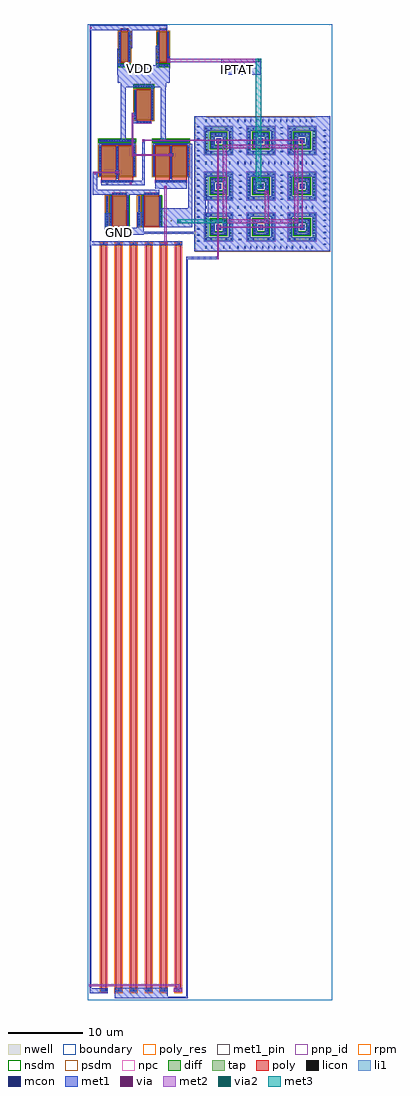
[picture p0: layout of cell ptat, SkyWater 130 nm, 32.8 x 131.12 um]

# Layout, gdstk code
from math import pi, radians
import gdstk
lib = gdstk.Library(unit=1e-6, precision=1e-09)
def R(c, l, rs):  # rectangles x0, y0, x1, y1
    for r in rs: c.add(gdstk.rectangle(r[:2], r[2:], *l))
def A(c, l, x, y, w, h, nx, ny, dx, dy):  # array of equal rectangles
    R(c, l, [(x+i*dx, y+j*dy, x+i*dx+w, y+j*dy+h) for i in range(nx) for j in range(ny)])
def P(c, l, *ps):  # polygons
    for p in ps: c.add(gdstk.Polygon(p, *l))
nwell = (64, 20)
diff = (65, 20)
tap = (65, 44)
poly_res = (66, 13)
poly = (66, 20)
licon = (66, 44)
li1 = (67, 20)
mcon = (67, 44)
met1_pin = (68, 16)
met1 = (68, 20)
via = (68, 44)
met2 = (69, 20)
via2 = (69, 44)
met3 = (70, 20)
pnp_id = (82, 44)
rpm = (86, 20)
nsdm = (93, 44)
psdm = (94, 20)
npc = (95, 20)
boundary = (235, 4)

pfet_01v8_cdns_778453450 = lib.new_cell('pfet_01v8_CDNS_778453450600')
R(pfet_01v8_cdns_778453450, nwell, [(-0.445,-0.18,4.725,5.05)])
R(pfet_01v8_cdns_778453450, diff, [(-0.265,0,0,4), (0,0,2,4), (2,0,2.28,4), (2.28,0,4.28,4), (4.28,0,4.545,4)])
R(pfet_01v8_cdns_778453450, tap, [(-0.265,4.58,4.545,4.87)])
R(pfet_01v8_cdns_778453450, poly, [(0,-0.86,4.28,-0.59), (0,-0.59,2,0), (2.28,-0.59,4.28,0), (0,0,2,4), (2.28,0,4.28,4), (0,4,2,4.15), (2.28,4,4.28,4.15)])
A(pfet_01v8_cdns_778453450, licon, 0.08, -0.81, 0.17, 0.17, 10, 1, 0.36, 0)
A(pfet_01v8_cdns_778453450, licon, -0.225, 0.215, 0.17, 0.17, 3, 11, 2.28, 0.34)
A(pfet_01v8_cdns_778453450, licon, 0.015, 4.64, 0.17, 0.17, 13, 1, 0.34, 0)
R(pfet_01v8_cdns_778453450, licon, [(3.675,-0.81,3.845,-0.64), (4.03,-0.81,4.2,-0.64)])
A(pfet_01v8_cdns_778453450, li1, -0.225, 0, 0.17, 4, 3, 1, 2.28, 0)
R(pfet_01v8_cdns_778453450, li1, [(0,-0.84,4.28,-0.61), (-0.255,4.59,4.535,4.86)])
A(pfet_01v8_cdns_778453450, mcon, 0.08, -0.81, 0.17, 0.17, 11, 1, 0.395, 0)
A(pfet_01v8_cdns_778453450, mcon, -0.225, 0.115, 0.17, 0.17, 3, 11, 2.28, 0.36)
A(pfet_01v8_cdns_778453450, mcon, -0.105, 4.64, 0.17, 0.17, 13, 1, 0.36, 0)
A(pfet_01v8_cdns_778453450, met1, -0.255, 0, 0.23, 4, 3, 1, 2.28, 0)
R(pfet_01v8_cdns_778453450, met1, [(0,-0.86,4.28,-0.59), (2.025,-0.4,2.255,-0.17), (2.025,-0.17,2.255,0), (-0.255,4,-0.025,4.17), (4.305,4,4.535,4.17), (-0.255,4.17,4.535,4.4), (-0.255,4.59,4.535,4.86)])
R(pfet_01v8_cdns_778453450, nsdm, [(-0.395,4.45,4.675,5)])
R(pfet_01v8_cdns_778453450, psdm, [(-0.405,-0.13,4.685,4.13)])
R(pfet_01v8_cdns_778453450, npc, [(-0.05,-0.91,4.33,-0.54)])

nfet_01v8_cdns_778453450 = lib.new_cell('nfet_01v8_CDNS_778453450601')
R(nfet_01v8_cdns_778453450, diff, [(-0.265,0,0,4), (0,0,2,4), (2,0,2.265,4)])
R(nfet_01v8_cdns_778453450, tap, [(-0.825,0,-0.535,4)])
R(nfet_01v8_cdns_778453450, poly, [(0,-0.15,2,0), (0,0,2,4), (0,4,2,4.19), (0,4.19,2,4.46)])
A(nfet_01v8_cdns_778453450, licon, -0.765, 0.215, 0.17, 0.17, 1, 11, 0, 0.34)
A(nfet_01v8_cdns_778453450, licon, -0.225, 0.215, 0.17, 0.17, 1, 11, 0, 0.34)
A(nfet_01v8_cdns_778453450, licon, 2.055, 0.215, 0.17, 0.17, 1, 11, 0, 0.34)
A(nfet_01v8_cdns_778453450, licon, 0.08, 4.24, 0.17, 0.17, 3, 1, 0.42, 0)
R(nfet_01v8_cdns_778453450, licon, [(1.335,4.24,1.505,4.41), (1.75,4.24,1.92,4.41)])
R(nfet_01v8_cdns_778453450, li1, [(-0.815,0,-0.545,4), (-0.225,0,-0.055,4), (2.055,0,2.225,4), (0,4.21,2,4.44)])
A(nfet_01v8_cdns_778453450, mcon, -0.765, 0.115, 0.17, 0.17, 1, 11, 0, 0.36)
A(nfet_01v8_cdns_778453450, mcon, -0.225, 0.115, 0.17, 0.17, 1, 11, 0, 0.36)
A(nfet_01v8_cdns_778453450, mcon, 2.055, 0.115, 0.17, 0.17, 1, 11, 0, 0.36)
A(nfet_01v8_cdns_778453450, mcon, 0.08, 4.24, 0.17, 0.17, 3, 1, 0.42, 0)
R(nfet_01v8_cdns_778453450, mcon, [(1.335,4.24,1.505,4.41), (1.75,4.24,1.92,4.41)])
R(nfet_01v8_cdns_778453450, met1, [(-0.815,0,-0.545,4), (-0.255,0,-0.025,4), (2.025,0,2.255,4), (0,4.19,2,4.46)])
R(nfet_01v8_cdns_778453450, nsdm, [(-0.405,-0.13,2.405,4.13)])
R(nfet_01v8_cdns_778453450, psdm, [(-0.965,-0.14,-0.395,4.14)])
R(nfet_01v8_cdns_778453450, npc, [(-0.05,4.14,2.05,4.51)])

c_pfet_01v8_cdns_778453450 = lib.new_cell('pfet_01v8_CDNS_778453450602')
R(c_pfet_01v8_cdns_778453450, nwell, [(-0.445,-0.18,2.445,4.81)])
R(c_pfet_01v8_cdns_778453450, diff, [(-0.265,0,0,4), (0,0,2,4), (2,0,2.265,4)])
R(c_pfet_01v8_cdns_778453450, tap, [(-0.265,4.34,2.265,4.63)])
R(c_pfet_01v8_cdns_778453450, poly, [(0,-0.46,2,-0.19), (0,-0.19,2,0), (0,0,2,4), (0,4,2,4.15)])
A(c_pfet_01v8_cdns_778453450, licon, 0.08, -0.41, 0.17, 0.17, 3, 1, 0.42, 0)
A(c_pfet_01v8_cdns_778453450, licon, -0.225, 0.215, 0.17, 0.17, 1, 11, 0, 0.34)
A(c_pfet_01v8_cdns_778453450, licon, 2.055, 0.215, 0.17, 0.17, 1, 11, 0, 0.34)
A(c_pfet_01v8_cdns_778453450, licon, -0.105, 4.4, 0.17, 0.17, 7, 1, 0.34, 0)
R(c_pfet_01v8_cdns_778453450, licon, [(1.335,-0.41,1.505,-0.24), (1.75,-0.41,1.92,-0.24)])
R(c_pfet_01v8_cdns_778453450, li1, [(0,-0.44,2,-0.21), (-0.225,0,-0.055,4), (2.055,0,2.225,4), (-0.255,4.35,2.255,4.62)])
A(c_pfet_01v8_cdns_778453450, mcon, 0.08, -0.41, 0.17, 0.17, 3, 1, 0.42, 0)
A(c_pfet_01v8_cdns_778453450, mcon, -0.225, 0.115, 0.17, 0.17, 1, 11, 0, 0.36)
A(c_pfet_01v8_cdns_778453450, mcon, 2.055, 0.115, 0.17, 0.17, 1, 11, 0, 0.36)
A(c_pfet_01v8_cdns_778453450, mcon, -0.165, 4.4, 0.17, 0.17, 7, 1, 0.36, 0)
R(c_pfet_01v8_cdns_778453450, mcon, [(1.335,-0.41,1.505,-0.24), (1.75,-0.41,1.92,-0.24)])
R(c_pfet_01v8_cdns_778453450, met1, [(0,-0.46,2,-0.19), (-0.255,0,-0.025,4), (2.025,0,2.255,4), (-0.255,4.35,2.255,4.62)])
R(c_pfet_01v8_cdns_778453450, nsdm, [(-0.395,4.21,2.395,4.76)])
R(c_pfet_01v8_cdns_778453450, psdm, [(-0.405,-0.13,2.405,4.13)])
R(c_pfet_01v8_cdns_778453450, npc, [(-0.05,-0.51,2.05,-0.14)])

m1m2_c_cdns_778453450601 = lib.new_cell('M1M2_C_CDNS_778453450601')
R(m1m2_c_cdns_778453450601, met1, [(-0.13,-0.16,0.13,0.16)])
R(m1m2_c_cdns_778453450601, via, [(-0.075,-0.075,0.075,0.075)])
R(m1m2_c_cdns_778453450601, met2, [(-0.13,-0.16,0.13,0.16)])

ota = lib.new_cell('ota')
R(ota, met1_pin, [(3.005,2.04,3.145,2.18), (10.99,3.405,11.13,3.545), (2.335,8.31,2.565,8.555), (10.365,8.42,10.505,8.56), (8.185,22.01,8.3,22.105)])
R(ota, met1, [(2.12,1.595,7.32,2.515), (2.12,1.935,3.02,4.46), (6.455,1.935,7.32,4.6), (9.495,2.595,13.875,5.11), (13.3,2.595,13.875,13.815), (5.075,4.905,5.36,7.46), (0.485,6.92,1.13,10.025), (0.485,6.92,9.41,7.59), (1.645,8.205,5.885,8.845), (8.88,8.205,13.12,8.845), (3.5,9.64,4.075,10.235), (5.755,12.13,6.33,12.49), (10.72,12.13,11.295,12.49), (4.245,14.065,4.91,22.285), (9.645,14.07,10.31,22.29), (5.76,16.52,6.605,16.855), (5.76,16.52,6.305,17.945), (8.375,20.795,8.65,21.755), (4.245,21.375,10.335,22.29)])
R(ota, met2, [(0.485,9.875,4.075,10.02), (5.76,12.145,5.915,17.945), (5.785,12.21,11.15,12.355)])
ota.add(gdstk.Reference(pfet_01v8_cdns_778453450, (8.86,9.465)))
ota.add(gdstk.Reference(pfet_01v8_cdns_778453450, (1.635,9.465)))
ota.add(gdstk.Reference(nfet_01v8_cdns_778453450, (7.4,2.725)))
ota.add(gdstk.Reference(nfet_01v8_cdns_778453450, (3.09,2.725)))
ota.add(gdstk.Reference(c_pfet_01v8_cdns_778453450, (6.36,17.025)))
ota.add(gdstk.Reference(m1m2_c_cdns_778453450601, (0.795,9.82)))
ota.add(gdstk.Reference(m1m2_c_cdns_778453450601, (5.95,12.31)))
ota.add(gdstk.Reference(m1m2_c_cdns_778453450601, (10.96,12.29)))
ota.add(gdstk.Reference(m1m2_c_cdns_778453450601, (5.96,17.455)))
ota.add(gdstk.Reference(m1m2_c_cdns_778453450601, (3.835,9.975)))

pnp_05v5_cdns_7784534506 = lib.new_cell('pnp_05v5_CDNS_778453450603')
R(pnp_05v5_cdns_7784534506, nwell, [(-0.885,-0.885,1.565,1.565)])
R(pnp_05v5_cdns_7784534506, diff, [(0,0,0.68,0.68)])
P(pnp_05v5_cdns_7784534506, tap, [(-1.515,2.195),(2.195,2.195),(2.195,-1.515),(0.34,-1.515),(0.34,-1.015),(1.695,-1.015),(1.695,1.695),(-1.015,1.695),(-1.015,-1.015),(0.34,-1.015),(0.34,-1.515),(-1.515,-1.515)],
  [(-0.705,1.385),(1.385,1.385),(1.385,-0.705),(0.34,-0.705),(0.34,-0.345),(1.025,-0.345),(1.025,1.025),(-0.345,1.025),(-0.345,-0.345),(0.34,-0.345),(0.34,-0.705),(-0.705,-0.705)])
A(pnp_05v5_cdns_7784534506, licon, -1.35, -0.925, 0.17, 0.17, 1, 5, 0, 0.395)
A(pnp_05v5_cdns_7784534506, licon, 1.86, -0.925, 0.17, 0.17, 1, 5, 0, 0.395)
A(pnp_05v5_cdns_7784534506, licon, -0.61, -0.585, 0.17, 0.17, 1, 4, 0, 0.45)
A(pnp_05v5_cdns_7784534506, licon, 1.12, -0.585, 0.17, 0.17, 1, 4, 0, 0.45)
A(pnp_05v5_cdns_7784534506, licon, -0.585, 1.12, 0.17, 0.17, 5, 1, 0.42, 0)
R(pnp_05v5_cdns_7784534506, licon, [(-1.435,-1.35,-1.265,-1.18), (-0.775,-1.35,-0.605,-1.18), (1.285,-1.35,1.455,-1.18), (1.945,-1.35,2.115,-1.18), (0.08,0.08,0.25,0.25), (0.43,0.08,0.6,0.25), (0.08,0.43,0.25,0.6), (0.43,0.43,0.6,0.6), (-1.35,1.045,-1.18,1.215), (1.86,1.045,2.03,1.215), (-1.35,1.435,-1.18,1.605), (1.86,1.435,2.03,1.605), (-1.435,1.86,-1.265,2.03), (-0.775,1.86,-0.605,2.03), (1.285,1.86,1.455,2.03), (1.945,1.86,2.115,2.03)])
R(pnp_05v5_cdns_7784534506, li1, [(0,0,0.68,0.68)])
R(pnp_05v5_cdns_7784534506, mcon, [(-1.445,-1.35,-1.275,-1.18), (-0.765,-1.35,-0.595,-1.18), (1.275,-1.35,1.445,-1.18), (1.955,-1.35,2.125,-1.18), (-0.61,-0.635,-0.44,-0.465), (1.12,-0.635,1.29,-0.465), (-0.61,-0.265,-0.44,-0.095), (1.12,-0.265,1.29,-0.095), (0.03,0.06,0.2,0.23), (0.48,0.06,0.65,0.23), (-0.61,0.1,-0.44,0.27), (1.12,0.1,1.29,0.27), (0.03,0.45,0.2,0.62), (0.48,0.45,0.65,0.62), (-1.445,1.86,-1.275,2.03), (-0.765,1.86,-0.595,2.03), (1.275,1.86,1.445,2.03), (1.955,1.86,2.125,2.03)])
R(pnp_05v5_cdns_7784534506, met1, [(0,0,0.68,0.68)])
R(pnp_05v5_cdns_7784534506, pnp_id, [(-1.645,-1.645,2.325,2.325)])
P(pnp_05v5_cdns_7784534506, nsdm, [(-0.835,1.515),(1.515,1.515),(1.515,-0.835),(0.34,-0.835),(0.34,-0.215),(0.895,-0.215),(0.895,0.895),(-0.215,0.895),(-0.215,-0.215),(0.34,-0.215),(0.34,-0.835),(-0.835,-0.835)])
R(pnp_05v5_cdns_7784534506, psdm, [(-0.13,-0.13,0.81,0.81)])
P(pnp_05v5_cdns_7784534506, psdm, [(-1.645,2.325),(2.325,2.325),(2.325,-1.645),(0.34,-1.645),(0.34,-0.885),(1.565,-0.885),(1.565,1.565),(-0.885,1.565),(-0.885,-0.885),(0.34,-0.885),(0.34,-1.645),(-1.645,-1.645)])
pnp_05v5_cdns_7784534506.add(gdstk.FlexPath([(1.205,1.945),(1.945,1.945),(1.945,-1.265),(1.205,-1.265)], 0.5, ends="flush", simple_path=True, layer=67, datatype=20))  # li1
pnp_05v5_cdns_7784534506.add(gdstk.FlexPath([(-0.525,1.945),(-1.265,1.945),(-1.265,-1.265),(-0.525,-1.265)], 0.5, ends="flush", simple_path=True, layer=67, datatype=20))  # li1
pnp_05v5_cdns_7784534506.add(gdstk.FlexPath([(-0.525,-0.705),(-0.525,1.205),(1.205,1.205),(1.205,-0.705)], 0.36, ends="flush", simple_path=True, layer=67, datatype=20))  # li1
pnp_05v5_cdns_7784534506.add(gdstk.FlexPath([(-1.515,-1.265),(2.195,-1.265)], 0.5, ends="flush", simple_path=True, layer=68, datatype=20))  # met1
pnp_05v5_cdns_7784534506.add(gdstk.FlexPath([(-1.515,1.945),(2.195,1.945)], 0.5, ends="flush", simple_path=True, layer=68, datatype=20))  # met1
pnp_05v5_cdns_7784534506.add(gdstk.FlexPath([(-0.525,0.34),(-0.525,-0.525),(1.205,-0.525),(1.205,0.34)], 0.36, ends="flush", simple_path=True, layer=68, datatype=20))  # met1

res_high_po_0p69_cdns_77 = lib.new_cell('res_high_po_0p69_CDNS_778453450604')
R(res_high_po_0p69_cdns_77, poly_res, [(0,-0.05,0.69,99.95)])
R(res_high_po_0p69_cdns_77, poly, [(0,-0.27,0.69,0), (0,0,0.69,99.9), (0,99.9,0.69,100.17)])
R(res_high_po_0p69_cdns_77, licon, [(0.08,-0.22,0.25,-0.05), (0.44,-0.22,0.61,-0.05), (0.08,99.95,0.25,100.12), (0.44,99.95,0.61,100.12)])
R(res_high_po_0p69_cdns_77, li1, [(-0.1,-0.22,0.79,-0.05), (-0.1,99.95,0.79,100.12)])
R(res_high_po_0p69_cdns_77, rpm, [(-0.2,-0.47,0.89,100.37)])
R(res_high_po_0p69_cdns_77, psdm, [(-0.11,-0.38,0.8,100.28)])
R(res_high_po_0p69_cdns_77, npc, [(-0.095,-0.365,0.785,100.265)])

subtap_cdns_778453450605 = lib.new_cell('subTap_CDNS_778453450605')
R(subtap_cdns_778453450605, tap, [(-0.085,-0.21,0.085,0.21)])
R(subtap_cdns_778453450605, licon, [(-0.085,-0.085,0.085,0.085)])
R(subtap_cdns_778453450605, li1, [(-0.085,-0.165,0.085,0.165)])
R(subtap_cdns_778453450605, mcon, [(-0.085,-0.085,0.085,0.085)])
R(subtap_cdns_778453450605, met1, [(-0.115,-0.145,0.115,0.145)])
R(subtap_cdns_778453450605, psdm, [(-0.21,-0.335,0.21,0.335)])

c_pfet_01v8_cdns_778453450_ = lib.new_cell('pfet_01v8_CDNS_778453450606')
R(c_pfet_01v8_cdns_778453450_, nwell, [(-0.445,-0.18,1.445,4.81)])
R(c_pfet_01v8_cdns_778453450_, diff, [(-0.265,0,0,4), (0,0,1,4), (1,0,1.265,4)])
R(c_pfet_01v8_cdns_778453450_, tap, [(-0.265,4.34,1.265,4.63)])
R(c_pfet_01v8_cdns_778453450_, poly, [(0,-0.46,1,-0.19), (0,-0.19,1,0), (0,0,1,4), (0,4,1,4.15)])
A(c_pfet_01v8_cdns_778453450_, licon, -0.225, 0.215, 0.17, 0.17, 1, 11, 0, 0.34)
A(c_pfet_01v8_cdns_778453450_, licon, 1.055, 0.215, 0.17, 0.17, 1, 11, 0, 0.34)
A(c_pfet_01v8_cdns_778453450_, licon, -0.095, 4.4, 0.17, 0.17, 4, 1, 0.34, 0)
R(c_pfet_01v8_cdns_778453450_, licon, [(0.08,-0.41,0.25,-0.24), (0.75,-0.41,0.92,-0.24)])
R(c_pfet_01v8_cdns_778453450_, li1, [(0,-0.44,1,-0.21), (-0.225,0,-0.055,4), (1.055,0,1.225,4), (-0.255,4.35,1.255,4.62)])
A(c_pfet_01v8_cdns_778453450_, mcon, -0.225, 0.115, 0.17, 0.17, 1, 11, 0, 0.36)
A(c_pfet_01v8_cdns_778453450_, mcon, 1.055, 0.115, 0.17, 0.17, 1, 11, 0, 0.36)
A(c_pfet_01v8_cdns_778453450_, mcon, -0.125, 4.4, 0.17, 0.17, 4, 1, 0.36, 0)
R(c_pfet_01v8_cdns_778453450_, mcon, [(0.08,-0.41,0.25,-0.24), (0.75,-0.41,0.92,-0.24)])
R(c_pfet_01v8_cdns_778453450_, met1, [(0,-0.46,1,-0.19), (-0.255,0,-0.025,4), (1.025,0,1.255,4), (-0.255,4.35,1.255,4.62)])
R(c_pfet_01v8_cdns_778453450_, nsdm, [(-0.395,4.21,1.395,4.76)])
R(c_pfet_01v8_cdns_778453450_, psdm, [(-0.405,-0.13,1.405,4.13)])
R(c_pfet_01v8_cdns_778453450_, npc, [(-0.05,-0.51,1.05,-0.14)])

l1m1_c_cdns_778453450600 = lib.new_cell('L1M1_C_CDNS_778453450600')
R(l1m1_c_cdns_778453450600, li1, [(-0.085,-0.165,0.085,0.165)])
R(l1m1_c_cdns_778453450600, mcon, [(-0.085,-0.085,0.085,0.085)])
R(l1m1_c_cdns_778453450600, met1, [(-0.115,-0.145,0.115,0.145)])

m2m3_c_cdns_778453450602 = lib.new_cell('M2M3_C_CDNS_778453450602')
R(m2m3_c_cdns_778453450602, met2, [(-0.14,-0.185,0.14,0.185)])
R(m2m3_c_cdns_778453450602, via2, [(-0.1,-0.1,0.1,0.1)])
R(m2m3_c_cdns_778453450602, met3, [(-0.165,-0.165,0.165,0.165)])

m1m2_c_cdns_778453450603 = lib.new_cell('M1M2_C_CDNS_778453450603')
R(m1m2_c_cdns_778453450603, met1, [(-0.13,-0.16,0.13,0.16)])
R(m1m2_c_cdns_778453450603, via, [(-0.075,-0.075,0.075,0.075)])
R(m1m2_c_cdns_778453450603, met2, [(-0.14,-0.185,0.14,0.185)])

l1m1_c_cdns_778453450604 = lib.new_cell('L1M1_C_CDNS_778453450604')
R(l1m1_c_cdns_778453450604, li1, [(-0.085,-0.165,0.085,0.165)])
R(l1m1_c_cdns_778453450604, mcon, [(-0.085,-0.085,0.085,0.085)])
R(l1m1_c_cdns_778453450604, met1, [(-0.13,-0.16,0.13,0.16)])

ptat = lib.new_cell('ptat')
R(ptat, met1_pin, [(6.65,102,6.79,102.14), (22.535,123.975,22.675,124.115), (9.36,124.095,9.5,124.235)])
R(ptat, met1, [(6.06,-0.81,13.185,0.6), (6.08,-0.81,15.9,-0.56), (15.645,-0.805,15.895,98.85), (2.7,-0.075,5.14,0.54), (14.02,0.06,15.105,0.595), (2.7,0.065,2.905,129.94), (15.655,98.49,20.055,98.82), (16.765,99.545,34.985,101.05), (21.465,99.735,24.285,116.57), (33.045,100.29,34.985,117.68), (2.675,100.395,15.11,100.895), (16.775,100.475,18.275,117.69), (27.17,100.715,29.815,116.54), (18.985,101.78,19.515,103.87), (20.55,101.78,21.08,103.87), (24.65,101.78,25.18,103.87), (26.21,101.78,26.74,103.87), (30.19,101.78,30.72,103.87), (31.75,101.78,32.28,103.87), (32.58,101.91,33.09,114.73), (6.565,101.92,17.085,102.175), (13.385,102.955,16.175,104.425), (18.985,103.35,21.08,103.87), (24.655,103.35,26.75,103.87), (30.19,103.35,32.285,103.87), (18.985,103.36,21.08,103.88), (18.575,104.255,33.025,106.88), (18.985,107.28,19.515,109.37), (20.545,107.28,21.075,109.37), (24.665,107.28,25.195,109.37), (26.23,107.28,26.76,109.37), (30.19,107.28,30.72,109.37), (31.75,107.28,32.28,109.37), (11.51,107.98,15.72,108.815), (4.275,108.43,10.095,109.015), (9.73,108.455,10.095,114.61), (18.985,108.855,21.08,109.375), (24.655,108.855,26.75,109.375), (30.19,108.855,32.285,109.375), (17.86,109.675,33.345,112.87), (18.98,113.39,19.51,115.48), (20.545,113.39,21.075,115.48), (24.65,113.39,25.18,115.48), (26.21,113.39,26.74,115.48), (30.19,113.39,30.72,115.48), (31.75,113.39,32.28,115.48), (18.985,114.96,21.08,115.48), (24.655,114.96,26.75,115.48), (30.19,114.96,32.285,115.48), (16.91,116.2,34.96,117.67), (6.445,122.175,13.48,124.54), (20.385,123.285,25.71,125.445), (6.41,123.295,6.81,126.79), (11.565,123.31,11.965,127.155), (13.13,124.915,13.485,125.765), (8.055,126.86,8.425,129.895), (7.905,127.14,8.12,127.74), (2.695,129.26,13.13,129.91)])
R(ptat, met2, [(14.015,0.06,15.105,0.605), (14.405,0.07,14.715,1.075), (2.69,0.85,14.725,1.07), (19.86,98.495,20.045,114.575), (12.69,100.455,13.04,108.39), (19.9,102.695,31.325,102.85), (31.165,102.72,31.34,114.55), (30.18,103.3,30.72,113.86), (20.615,103.335,30.7,103.885), (20.585,103.35,21.09,113.845), (26.23,103.35,26.735,107.71), (20.565,113.385,30.57,113.845), (9.745,114.4,31.345,114.565), (13.205,124.965,25.395,125.405)])
R(ptat, met3, [(14.45,103.365,21.105,103.87), (25.03,108.035,25.715,125.445)])
R(ptat, psdm, [(16.78,99.505,34.99,117.685)])
R(ptat, boundary, [(2.46,-1.015,35.26,130.1)])
ptat.add(gdstk.Reference(ota, (2.615,100.215)))
ptat.add(gdstk.Reference(pnp_05v5_cdns_7784534506, (30.895,107.985)))
ptat.add(gdstk.Reference(pnp_05v5_cdns_7784534506, (30.895,114.095)))
ptat.add(gdstk.Reference(pnp_05v5_cdns_7784534506, (25.355,114.095)))
ptat.add(gdstk.Reference(pnp_05v5_cdns_7784534506, (19.69,114.095)))
ptat.add(gdstk.Reference(pnp_05v5_cdns_7784534506, (30.895,102.485)))
ptat.add(gdstk.Reference(pnp_05v5_cdns_7784534506, (25.355,102.485)))
ptat.add(gdstk.Reference(pnp_05v5_cdns_7784534506, (19.69,102.485)))
ptat.add(gdstk.Reference(pnp_05v5_cdns_7784534506, (19.69,107.985)))
ptat.add(gdstk.Reference(pnp_05v5_cdns_7784534506, (25.37,107.985)))
ptat.add(gdstk.Reference(res_high_po_0p69_cdns_77, (12.27,0.395)))
ptat.add(gdstk.Reference(res_high_po_0p69_cdns_77, (10.275,0.395)))
ptat.add(gdstk.Reference(res_high_po_0p69_cdns_77, (14.25,0.395)))
ptat.add(gdstk.Reference(res_high_po_0p69_cdns_77, (4.25,0.395)))
ptat.add(gdstk.Reference(res_high_po_0p69_cdns_77, (6.225,0.395)))
ptat.add(gdstk.Reference(res_high_po_0p69_cdns_77, (8.235,0.395)))
ptat.add(gdstk.Reference(subtap_cdns_778453450605, (22.63,117.09), rotation=pi))
ptat.add(gdstk.Reference(subtap_cdns_778453450605, (22.63,117.09), rotation=pi))
ptat.add(gdstk.Reference(subtap_cdns_778453450605, (23.545,117.09), rotation=pi))
ptat.add(gdstk.Reference(subtap_cdns_778453450605, (27.555,117.09), rotation=pi))
ptat.add(gdstk.Reference(subtap_cdns_778453450605, (25.145,117.09), rotation=pi))
ptat.add(gdstk.Reference(subtap_cdns_778453450605, (24.345,117.09), rotation=pi))
ptat.add(gdstk.Reference(subtap_cdns_778453450605, (25.945,117.09), rotation=pi))
ptat.add(gdstk.Reference(subtap_cdns_778453450605, (26.755,117.09), rotation=pi))
ptat.add(gdstk.Reference(subtap_cdns_778453450605, (29.16,117.09), rotation=pi))
ptat.add(gdstk.Reference(subtap_cdns_778453450605, (28.35,117.09), rotation=pi))
ptat.add(gdstk.Reference(subtap_cdns_778453450605, (29.96,117.09), rotation=pi))
ptat.add(gdstk.Reference(subtap_cdns_778453450605, (31.78,117.09), rotation=pi))
ptat.add(gdstk.Reference(subtap_cdns_778453450605, (30.97,117.09), rotation=pi))
ptat.add(gdstk.Reference(subtap_cdns_778453450605, (18.305,117.09), rotation=pi))
ptat.add(gdstk.Reference(subtap_cdns_778453450605, (19.905,117.09), rotation=pi))
ptat.add(gdstk.Reference(subtap_cdns_778453450605, (21.505,117.09), rotation=pi))
ptat.add(gdstk.Reference(subtap_cdns_778453450605, (19.105,117.09), rotation=pi))
ptat.add(gdstk.Reference(subtap_cdns_778453450605, (20.705,117.09), rotation=pi))
ptat.add(gdstk.Reference(subtap_cdns_778453450605, (32.58,117.09), rotation=pi))
ptat.add(gdstk.Reference(subtap_cdns_778453450605, (32.58,100.11), rotation=pi))
ptat.add(gdstk.Reference(subtap_cdns_778453450605, (30.97,100.11), rotation=pi))
ptat.add(gdstk.Reference(subtap_cdns_778453450605, (31.78,100.11), rotation=pi))
ptat.add(gdstk.Reference(subtap_cdns_778453450605, (25.145,105.495), rotation=pi))
ptat.add(gdstk.Reference(subtap_cdns_778453450605, (27.555,105.495), rotation=pi))
ptat.add(gdstk.Reference(subtap_cdns_778453450605, (23.545,105.495), rotation=pi))
ptat.add(gdstk.Reference(subtap_cdns_778453450605, (22.89,104.4), rotation=pi/2))
ptat.add(gdstk.Reference(subtap_cdns_778453450605, (20.705,105.495), rotation=pi))
ptat.add(gdstk.Reference(subtap_cdns_778453450605, (28.35,100.11), rotation=pi))
ptat.add(gdstk.Reference(subtap_cdns_778453450605, (31.8,105.495), rotation=pi))
ptat.add(gdstk.Reference(subtap_cdns_778453450605, (22.945,112.955), rotation=pi/2))
ptat.add(gdstk.Reference(subtap_cdns_778453450605, (17.305,115.485), rotation=pi/2))
ptat.add(gdstk.Reference(subtap_cdns_778453450605, (34.29,115.04), rotation=pi/2))
ptat.add(gdstk.Reference(subtap_cdns_778453450605, (34.29,115.84), rotation=pi/2))
ptat.add(gdstk.Reference(subtap_cdns_778453450605, (26.755,105.495), rotation=pi))
ptat.add(gdstk.Reference(subtap_cdns_778453450605, (26.755,100.11), rotation=pi))
ptat.add(gdstk.Reference(subtap_cdns_778453450605, (22.63,100.11), rotation=pi))
ptat.add(gdstk.Reference(subtap_cdns_778453450605, (22.945,106.545), rotation=pi/2))
ptat.add(gdstk.Reference(subtap_cdns_778453450605, (34.29,100.505), rotation=pi/2))
ptat.add(gdstk.Reference(subtap_cdns_778453450605, (34.29,101.305), rotation=pi/2))
ptat.add(gdstk.Reference(subtap_cdns_778453450605, (22.63,105.495), rotation=pi))
ptat.add(gdstk.Reference(subtap_cdns_778453450605, (22.63,100.11), rotation=pi))
ptat.add(gdstk.Reference(subtap_cdns_778453450605, (28.5,108.19), rotation=pi/2))
ptat.add(gdstk.Reference(subtap_cdns_778453450605, (34.29,114.24), rotation=pi/2))
ptat.add(gdstk.Reference(subtap_cdns_778453450605, (17.305,111.695), rotation=pi/2))
ptat.add(gdstk.Reference(subtap_cdns_778453450605, (34.29,111.015), rotation=pi/2))
ptat.add(gdstk.Reference(subtap_cdns_778453450605, (17.305,112.4), rotation=pi/2))
ptat.add(gdstk.Reference(subtap_cdns_778453450605, (34.29,111.935), rotation=pi/2))
ptat.add(gdstk.Reference(subtap_cdns_778453450605, (28.5,107.39), rotation=pi/2))
ptat.add(gdstk.Reference(subtap_cdns_778453450605, (34.29,109.475), rotation=pi/2))
ptat.add(gdstk.Reference(subtap_cdns_778453450605, (24.345,105.495), rotation=pi))
ptat.add(gdstk.Reference(subtap_cdns_778453450605, (22.63,105.495), rotation=pi))
ptat.add(gdstk.Reference(subtap_cdns_778453450605, (21.505,105.495), rotation=pi))
ptat.add(gdstk.Reference(subtap_cdns_778453450605, (28.5,102.8), rotation=pi/2))
ptat.add(gdstk.Reference(subtap_cdns_778453450605, (28.5,104.4), rotation=pi/2))
ptat.add(gdstk.Reference(subtap_cdns_778453450605, (28.5,102), rotation=pi/2))
ptat.add(gdstk.Reference(subtap_cdns_778453450605, (22.89,101.155), rotation=pi/2))
ptat.add(gdstk.Reference(subtap_cdns_778453450605, (34.29,102.105), rotation=pi/2))
ptat.add(gdstk.Reference(subtap_cdns_778453450605, (34.29,106.265), rotation=pi/2))
ptat.add(gdstk.Reference(subtap_cdns_778453450605, (34.29,102.925), rotation=pi/2))
ptat.add(gdstk.Reference(subtap_cdns_778453450605, (17.305,116.285), rotation=pi/2))
ptat.add(gdstk.Reference(subtap_cdns_778453450605, (17.305,114.685), rotation=pi/2))
ptat.add(gdstk.Reference(subtap_cdns_778453450605, (17.305,113.885), rotation=pi/2))
ptat.add(gdstk.Reference(subtap_cdns_778453450605, (17.305,113.085), rotation=pi/2))
ptat.add(gdstk.Reference(subtap_cdns_778453450605, (17.305,110.73), rotation=pi/2))
ptat.add(gdstk.Reference(subtap_cdns_778453450605, (25.945,100.11), rotation=pi))
ptat.add(gdstk.Reference(subtap_cdns_778453450605, (20.705,100.11), rotation=pi))
ptat.add(gdstk.Reference(subtap_cdns_778453450605, (24.345,100.11), rotation=pi))
ptat.add(gdstk.Reference(subtap_cdns_778453450605, (25.145,100.11), rotation=pi))
ptat.add(gdstk.Reference(subtap_cdns_778453450605, (29.16,100.11), rotation=pi))
ptat.add(gdstk.Reference(subtap_cdns_778453450605, (27.555,100.11), rotation=pi))
ptat.add(gdstk.Reference(subtap_cdns_778453450605, (19.105,100.11), rotation=pi))
ptat.add(gdstk.Reference(subtap_cdns_778453450605, (21.505,100.11), rotation=pi))
ptat.add(gdstk.Reference(subtap_cdns_778453450605, (31,105.495), rotation=pi))
ptat.add(gdstk.Reference(subtap_cdns_778453450605, (23.545,100.11), rotation=pi))
ptat.add(gdstk.Reference(subtap_cdns_778453450605, (19.905,100.11), rotation=pi))
ptat.add(gdstk.Reference(subtap_cdns_778453450605, (29.96,100.11), rotation=pi))
ptat.add(gdstk.Reference(subtap_cdns_778453450605, (30.2,105.495), rotation=pi))
ptat.add(gdstk.Reference(subtap_cdns_778453450605, (28.5,101.155), rotation=pi/2))
ptat.add(gdstk.Reference(subtap_cdns_778453450605, (32.62,105.495), rotation=pi))
ptat.add(gdstk.Reference(subtap_cdns_778453450605, (18.305,100.11), rotation=pi))
ptat.add(gdstk.Reference(subtap_cdns_778453450605, (34.29,110.285), rotation=pi/2))
ptat.add(gdstk.Reference(subtap_cdns_778453450605, (34.29,110.285), rotation=pi/2))
ptat.add(gdstk.Reference(subtap_cdns_778453450605, (34.29,112.64), rotation=pi/2))
ptat.add(gdstk.Reference(subtap_cdns_778453450605, (34.29,113.44), rotation=pi/2))
ptat.add(gdstk.Reference(subtap_cdns_778453450605, (34.29,107.075), rotation=pi/2))
ptat.add(gdstk.Reference(subtap_cdns_778453450605, (34.29,108.675), rotation=pi/2))
ptat.add(gdstk.Reference(subtap_cdns_778453450605, (34.29,107.875), rotation=pi/2))
ptat.add(gdstk.Reference(subtap_cdns_778453450605, (17.305,110.73), rotation=pi/2))
ptat.add(gdstk.Reference(subtap_cdns_778453450605, (17.305,109.92), rotation=pi/2))
ptat.add(gdstk.Reference(subtap_cdns_778453450605, (17.305,109.12), rotation=pi/2))
ptat.add(gdstk.Reference(subtap_cdns_778453450605, (17.305,108.32), rotation=pi/2))
ptat.add(gdstk.Reference(subtap_cdns_778453450605, (17.305,107.52), rotation=pi/2))
ptat.add(gdstk.Reference(subtap_cdns_778453450605, (17.305,106.71), rotation=pi/2))
ptat.add(gdstk.Reference(subtap_cdns_778453450605, (17.305,105.91), rotation=pi/2))
ptat.add(gdstk.Reference(subtap_cdns_778453450605, (17.305,104.17), rotation=pi/2))
ptat.add(gdstk.Reference(subtap_cdns_778453450605, (17.305,103.37), rotation=pi/2))
ptat.add(gdstk.Reference(subtap_cdns_778453450605, (17.305,102.55), rotation=pi/2))
ptat.add(gdstk.Reference(subtap_cdns_778453450605, (17.305,101.75), rotation=pi/2))
ptat.add(gdstk.Reference(subtap_cdns_778453450605, (17.305,100.95), rotation=pi/2))
ptat.add(gdstk.Reference(subtap_cdns_778453450605, (28.505,113.755), rotation=pi/2))
ptat.add(gdstk.Reference(subtap_cdns_778453450605, (28.505,112.955), rotation=pi/2))
ptat.add(gdstk.Reference(subtap_cdns_778453450605, (19.905,105.495), rotation=pi))
ptat.add(gdstk.Reference(subtap_cdns_778453450605, (18.305,105.495), rotation=pi))
ptat.add(gdstk.Reference(subtap_cdns_778453450605, (28.5,106.545), rotation=pi/2))
ptat.add(gdstk.Reference(subtap_cdns_778453450605, (29.38,105.495), rotation=pi))
ptat.add(gdstk.Reference(subtap_cdns_778453450605, (28.42,105.495), rotation=pi))
ptat.add(gdstk.Reference(subtap_cdns_778453450605, (28.5,108.99), rotation=pi/2))
ptat.add(gdstk.Reference(subtap_cdns_778453450605, (28.505,114.555), rotation=pi/2))
ptat.add(gdstk.Reference(subtap_cdns_778453450605, (22.89,102.8), rotation=pi/2))
ptat.add(gdstk.Reference(subtap_cdns_778453450605, (32.62,111.43), rotation=pi))
ptat.add(gdstk.Reference(subtap_cdns_778453450605, (28.505,116.155), rotation=pi/2))
ptat.add(gdstk.Reference(subtap_cdns_778453450605, (28.505,115.355), rotation=pi/2))
ptat.add(gdstk.Reference(subtap_cdns_778453450605, (28.5,109.79), rotation=pi/2))
ptat.add(gdstk.Reference(subtap_cdns_778453450605, (28.5,103.6), rotation=pi/2))
ptat.add(gdstk.Reference(subtap_cdns_778453450605, (22.945,108.19), rotation=pi/2))
ptat.add(gdstk.Reference(subtap_cdns_778453450605, (22.945,108.99), rotation=pi/2))
ptat.add(gdstk.Reference(subtap_cdns_778453450605, (22.945,107.39), rotation=pi/2))
ptat.add(gdstk.Reference(subtap_cdns_778453450605, (22.945,109.79), rotation=pi/2))
ptat.add(gdstk.Reference(subtap_cdns_778453450605, (22.945,114.555), rotation=pi/2))
ptat.add(gdstk.Reference(subtap_cdns_778453450605, (22.89,102), rotation=pi/2))
ptat.add(gdstk.Reference(subtap_cdns_778453450605, (18.305,111.43), rotation=pi))
ptat.add(gdstk.Reference(subtap_cdns_778453450605, (22.945,116.155), rotation=pi/2))
ptat.add(gdstk.Reference(subtap_cdns_778453450605, (22.945,115.355), rotation=pi/2))
ptat.add(gdstk.Reference(subtap_cdns_778453450605, (19.905,111.43), rotation=pi))
ptat.add(gdstk.Reference(subtap_cdns_778453450605, (21.505,111.43), rotation=pi))
ptat.add(gdstk.Reference(subtap_cdns_778453450605, (19.105,111.43), rotation=pi))
ptat.add(gdstk.Reference(subtap_cdns_778453450605, (20.705,111.43), rotation=pi))
ptat.add(gdstk.Reference(subtap_cdns_778453450605, (22.63,111.43), rotation=pi))
ptat.add(gdstk.Reference(subtap_cdns_778453450605, (22.63,111.43), rotation=pi))
ptat.add(gdstk.Reference(subtap_cdns_778453450605, (31.8,111.43), rotation=pi))
ptat.add(gdstk.Reference(subtap_cdns_778453450605, (31,111.43), rotation=pi))
ptat.add(gdstk.Reference(subtap_cdns_778453450605, (34.29,103.725), rotation=pi/2))
ptat.add(gdstk.Reference(subtap_cdns_778453450605, (23.545,111.43), rotation=pi))
ptat.add(gdstk.Reference(subtap_cdns_778453450605, (34.29,104.525), rotation=pi/2))
ptat.add(gdstk.Reference(subtap_cdns_778453450605, (19.105,105.495), rotation=pi))
ptat.add(gdstk.Reference(subtap_cdns_778453450605, (27.555,111.43), rotation=pi))
ptat.add(gdstk.Reference(subtap_cdns_778453450605, (28.42,111.43), rotation=pi))
ptat.add(gdstk.Reference(subtap_cdns_778453450605, (25.145,111.43), rotation=pi))
ptat.add(gdstk.Reference(subtap_cdns_778453450605, (22.945,113.755), rotation=pi/2))
ptat.add(gdstk.Reference(subtap_cdns_778453450605, (24.345,111.43), rotation=pi))
ptat.add(gdstk.Reference(subtap_cdns_778453450605, (25.945,111.43), rotation=pi))
ptat.add(gdstk.Reference(subtap_cdns_778453450605, (29.38,111.43), rotation=pi))
ptat.add(gdstk.Reference(subtap_cdns_778453450605, (26.755,111.43), rotation=pi))
ptat.add(gdstk.Reference(subtap_cdns_778453450605, (30.2,111.43), rotation=pi))
ptat.add(gdstk.Reference(subtap_cdns_778453450605, (17.305,105.035), rotation=pi/2))
ptat.add(gdstk.Reference(subtap_cdns_778453450605, (34.29,105.375), rotation=pi/2))
ptat.add(gdstk.Reference(subtap_cdns_778453450605, (22.89,103.6), rotation=pi/2))
ptat.add(gdstk.Reference(subtap_cdns_778453450605, (25.945,105.495), rotation=pi))
ptat.add(gdstk.Reference(c_pfet_01v8_cdns_778453450_, (12.07,129.04), x_reflection=True))
ptat.add(gdstk.Reference(c_pfet_01v8_cdns_778453450_, (6.88,129.045), x_reflection=True))
ptat.add(gdstk.Reference(l1m1_c_cdns_778453450600, (4.585,100.6)))
ptat.add(gdstk.Reference(l1m1_c_cdns_778453450600, (14.68,100.565)))
ptat.add(gdstk.Reference(l1m1_c_cdns_778453450600, (4.875,0.32)))
ptat.add(gdstk.Reference(l1m1_c_cdns_778453450600, (6.62,100.57)))
ptat.add(gdstk.Reference(l1m1_c_cdns_778453450600, (8.6,0.3)))
ptat.add(gdstk.Reference(l1m1_c_cdns_778453450600, (6.6,0.3)))
ptat.add(gdstk.Reference(l1m1_c_cdns_778453450600, (10.6,0.3)))
ptat.add(gdstk.Reference(l1m1_c_cdns_778453450600, (12.7,0.3)))
ptat.add(gdstk.Reference(l1m1_c_cdns_778453450600, (8.55,100.57)))
ptat.add(gdstk.Reference(l1m1_c_cdns_778453450600, (10.64,100.575)))
ptat.add(gdstk.Reference(m1m2_c_cdns_778453450601, (30.485,103.665)))
ptat.add(gdstk.Reference(m1m2_c_cdns_778453450601, (26.505,103.61)))
ptat.add(gdstk.Reference(m1m2_c_cdns_778453450601, (2.785,0.965)))
ptat.add(gdstk.Reference(m1m2_c_cdns_778453450601, (14.545,0.355)))
ptat.add(gdstk.Reference(m1m2_c_cdns_778453450601, (12.855,100.67)))
ptat.add(gdstk.Reference(m1m2_c_cdns_778453450601, (9.91,114.425)))
ptat.add(gdstk.Reference(m1m2_c_cdns_778453450601, (2.815,129.59)))
ptat.add(gdstk.Reference(m1m2_c_cdns_778453450601, (31.23,108.335)))
ptat.add(gdstk.Reference(m1m2_c_cdns_778453450601, (19.89,98.73)))
ptat.add(gdstk.Reference(m1m2_c_cdns_778453450601, (8.2,108.68)))
ptat.add(gdstk.Reference(m1m2_c_cdns_778453450601, (31.225,114.375)))
ptat.add(gdstk.Reference(m1m2_c_cdns_778453450601, (25.7,114.495)))
ptat.add(gdstk.Reference(m1m2_c_cdns_778453450601, (19.99,114.425)))
ptat.add(gdstk.Reference(m1m2_c_cdns_778453450601, (20.02,108.305)))
ptat.add(gdstk.Reference(m1m2_c_cdns_778453450601, (20.825,113.655)))
ptat.add(gdstk.Reference(m1m2_c_cdns_778453450601, (25.66,102.805)))
ptat.add(gdstk.Reference(m1m2_c_cdns_778453450601, (31.205,102.855)))
ptat.add(gdstk.Reference(m1m2_c_cdns_778453450601, (20.785,109.135)))
ptat.add(gdstk.Reference(m1m2_c_cdns_778453450601, (13.365,125.195)))
ptat.add(gdstk.Reference(m1m2_c_cdns_778453450601, (20.015,102.98)))
ptat.add(gdstk.Reference(m1m2_c_cdns_778453450601, (30.365,113.61)))
ptat.add(gdstk.Reference(m1m2_c_cdns_778453450601, (26.47,113.565)))
ptat.add(gdstk.Reference(m1m2_c_cdns_778453450601, (20.815,103.625)))
ptat.add(gdstk.Reference(m1m2_c_cdns_778453450601, (30.385,107.49)))
ptat.add(gdstk.Reference(m1m2_c_cdns_778453450601, (24.915,103.64)))
ptat.add(gdstk.Reference(m1m2_c_cdns_778453450601, (26.475,107.53)))
ptat.add(gdstk.Reference(m1m2_c_cdns_778453450601, (12.87,108.17)))
ptat.add(gdstk.Reference(m2m3_c_cdns_778453450602, (20.845,103.64)))
ptat.add(gdstk.Reference(m2m3_c_cdns_778453450602, (14.745,103.62)))
ptat.add(gdstk.Reference(m2m3_c_cdns_778453450602, (25.685,108.35)))
ptat.add(gdstk.Reference(m2m3_c_cdns_778453450602, (25.375,125.2)))
ptat.add(gdstk.Reference(m1m2_c_cdns_778453450603, (14.745,103.62)))
ptat.add(gdstk.Reference(m1m2_c_cdns_778453450603, (25.685,108.35)))
ptat.add(gdstk.Reference(m1m2_c_cdns_778453450603, (25.375,125.2)))
ptat.add(gdstk.Reference(l1m1_c_cdns_778453450604, (14.545,0.355)))
ptat.add(gdstk.Reference(l1m1_c_cdns_778453450604, (12.855,100.67)))
ptat.add(gdstk.Label('IPTAT', (22.605,124.045), layer=83, texttype=44))
ptat.add(gdstk.Label('GND', (6.72,102.07), layer=83, texttype=44))
ptat.add(gdstk.Label('VDD', (9.43,124.165), layer=83, texttype=44))

lib.write_gds('ptat.gds')
